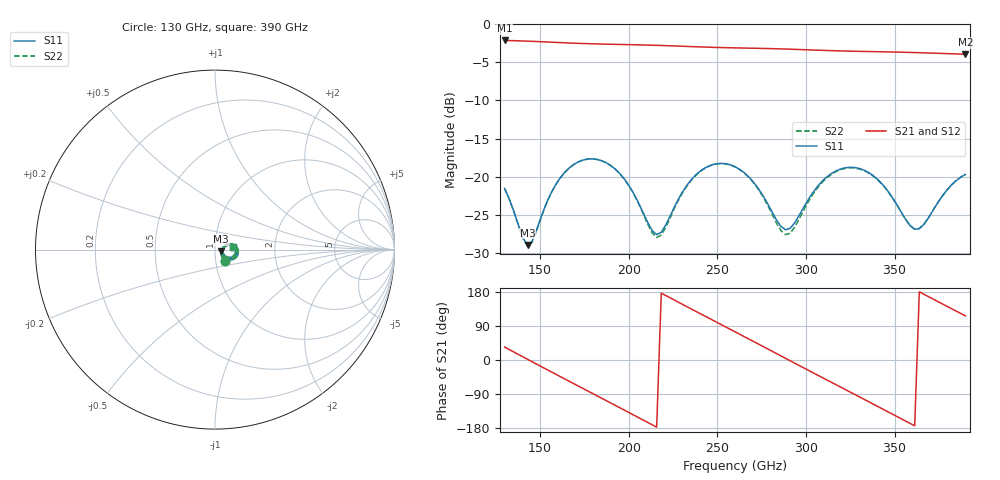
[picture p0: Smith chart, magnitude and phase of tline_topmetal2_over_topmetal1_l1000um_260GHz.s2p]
#  GHZ S DB R 50
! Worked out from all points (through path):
!   101 points, 130 GHz to 390 GHz, reference 50 ohm
!   highest |S21| = -2.14 dB at 130 GHz (marker M1); lowest = -3.9 dB at 390 GHz (marker M2)
!   group delay of S21, straight-line fit = 6.81 ps
!   lowest |S11| = -29.0 dB at 143 GHz (marker M3), VSWR 1.07, Z = 53.6 - j0.963 ohm
!   |S11| at or under -10 dB: start of sweep to end of sweep
!   |S22| runs from -29.1 to -17.7 dB; largest |S21 - S12| = 1.2e-13
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130  -21.55 -48.5  -2.14 34.0  -2.14 34.0  -21.55 -49.4
143  -28.97 -14.6  -2.23 1.7  -2.23 1.7  -29.12 -15.5
156  -22.24 23.9  -2.36 -30.5  -2.36 -30.5  -22.28 23.6
174.2  -17.83 -0.4  -2.53 -75.1  -2.53 -75.1  -17.83 -1.1
182  -17.73 -13.6  -2.59 -94.2  -2.59 -94.2  -17.73 -14.4
192.4  -19.01 -29.8  -2.65 -119.6  -2.65 -119.6  -19.02 -30.9
205.4  -23.35 -39.4  -2.71 -151.6  -2.71 -151.6  -23.44 -41.3
213.2  -27.06 -23.0  -2.76 -170.8  -2.76 -170.8  -27.36 -24.8
218.4  -27.29 1.8  -2.80 176.3  -2.80 176.3  -27.65 1.5
228.8  -22.63 21.2  -2.88 150.7  -2.88 150.7  -22.76 21.5
241.8  -19.03 8.7  -2.99 118.9  -2.99 118.9  -19.07 8.4
260  -18.69 -19.2  -3.11 74.5  -3.11 74.5  -18.72 -20.3
275.6  -22.42 -35.0  -3.18 36.2  -3.18 36.2  -22.56 -37.2
288.6  -26.97 -9.6  -3.26 4.2  -3.26 4.2  -27.61 -10.7
304.2  -22.00 18.4  -3.39 -34.1  -3.39 -34.1  -22.22 20.0
317.2  -19.22 5.1  -3.49 -65.7  -3.49 -65.7  -19.31 6.1
327.6  -18.81 -9.9  -3.55 -91.0  -3.55 -91.0  -18.87 -9.2
338  -19.88 -24.1  -3.60 -116.4  -3.60 -116.4  -19.91 -23.6
348.4  -22.60 -32.2  -3.65 -141.8  -3.65 -141.8  -22.63 -31.8
364  -26.82 -0.6  -3.74 179.9  -3.74 179.9  -26.81 -0.4
377  -22.53 18.8  -3.84 148.1  -3.84 148.1  -22.52 18.7
390  -19.71 7.2  -3.94 116.4  -3.94 116.4  -19.70 6.9
